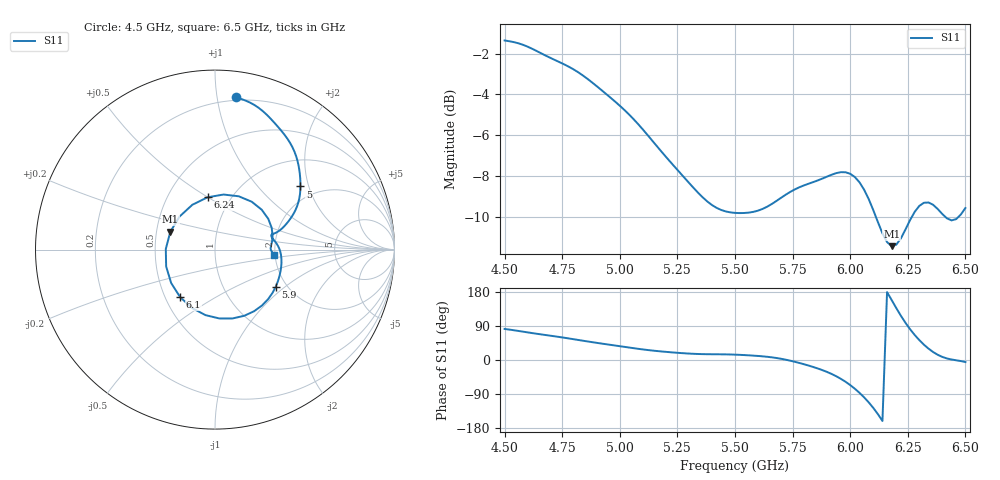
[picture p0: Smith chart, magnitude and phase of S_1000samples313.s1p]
! TOUCHSTONE file generated by CST MICROWAVE STUDIO
! Date and time: Thu Oct 27 17:49:33 2022
! Project name: L.cst
! Parameters = {Di=1.27; Epsilon_r=1.56; InnerDiameter=1.27; Length=2; Lf=10; Lg=60; OuterConductorThickness=0.2921; OuterDiameter=3.6; Wf=3; Wp=41.2; de=1.5; df=6.8; g=0.8; gx=0.700195; gy=3.35294; h=2.34; hf=1.524; px=10.498; py=10.7176; w=9.7; wx=9.79777; wy=7.36463}
! Header version: 2018
! Port assignment regex: !\s*Touchstone port\s*([0-9]+)\s*=\s*(CST MWS port|CST DS port)\s*([0-9]+|Zmin|Zmax)\s*\(\"(.*)\"\)(\s*mode\s*([0-9]+))?.*
! Touchstone port assignment:
! Touchstone port 1 = CST MWS port 1 ("")
# GHz S DB R 50
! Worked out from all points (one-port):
!   101 points, 4.5 GHz to 6.5 GHz, reference 50 ohm
!   lowest |S11| = -11.4 dB at 6.18 GHz (marker M1), VSWR 1.73, Z = 29.6 + j6.35 ohm
!   |S11| at or under -10 dB: 6.111 GHz to 6.268 GHz (156.6 MHz wide, 2.53 % of centre); 6.413 GHz to 6.47 GHz (57.81 MHz wide, 0.897 % of centre)
!   S11 on the Smith chart (normalised r, x): 4.5 GHz: 0.18, +1.13; 5 GHz: 1.63, +1.77; 5.9 GHz: 1.75, -0.86; 6.1 GHz: 0.60, -0.35; 6.24 GHz: 0.78, +0.50; 6.5 GHz: 1.98, -0.14
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4.5  -1.35 82.0
4.6  -1.66 72.9
4.76  -2.53 58.6
4.88  -3.41 47.1
5  -4.55 36.4
5.14  -6.25 25.0
5.26  -7.83 18.6
5.4  -9.42 15.2
5.5  -9.81 14.1
5.66  -9.37 7.0
5.76  -8.66 -4.8
5.84  -8.30 -18.5
5.9  -8.03 -31.7
5.96  -7.81 -49.9
6  -7.89 -66.2
6.04  -8.30 -86.4
6.06  -8.66 -98.3
6.1  -9.67 -126.2
6.14  -10.81 -160.9
6.18  -11.44 158.2
6.22  -11.06 116.8
6.24  -10.62 98.1
6.26  -10.16 81.2
6.3  -9.47 52.5
6.34  -9.30 30.0
6.4  -9.87 8.1
6.44  -10.18 1.3
6.5  -9.57 -5.4
